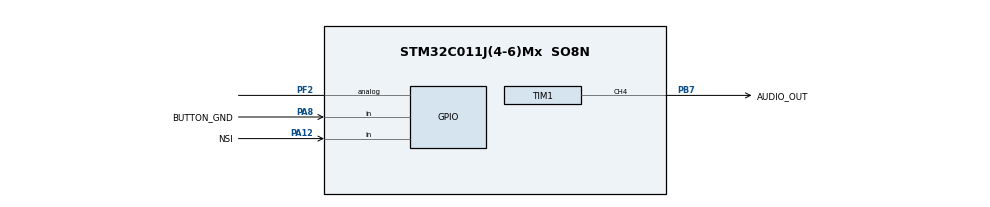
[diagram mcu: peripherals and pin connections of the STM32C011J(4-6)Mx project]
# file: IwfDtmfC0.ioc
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Mcu.Family=STM32C0
Mcu.Name=STM32C011J(4-6)Mx
Mcu.Package=SO8N
NVIC.TIM3_IRQn=true\:2\:0\:true\:false\:true\:true\:false\:true
PA12\ [PA10].GPIO_Label=NSI
PA12\ [PA10].GPIO_PuPd=GPIO_PULLUP
PA12\ [PA10].Signal=GPIO_Input
PA13.Mode=Serial_Wire
PA13.Signal=DEBUG_SWDIO
PA14-BOOT0.Mode=Serial_Wire
PA14-BOOT0.Signal=DEBUG_SWCLK
PA8.GPIO_Label=BUTTON_GND
PA8.GPIO_PuPd=GPIO_PULLUP
PA8.Signal=GPIO_Input
PA8__PA11\ [PA9].StandardMode=true
PB7.GPIO_Label=AUDIO_OUT
PB7.Signal=S_TIM1_CH4
PC14-OSCX_IN\ (PC14)__PB7.StandardMode=true
PC15-OSCX_OUT\ (PC15)__PA14-BOOT0__PB6.StandardMode=true
PF2-NRST.Signal=GPIO_Analog
PF2-NRST__PA0__PA1__PA2.StandardMode=true
ProjectManager.HeapSize=0x200
ProjectManager.StackSize=0x400
ProjectManager.TargetToolchain=STM32CubeIDE
RCC.ADCFreq_Value=48000000
RCC.AHBFreq_Value=48000000
RCC.CortexFreq_Value=48000000
RCC.EXTERNAL_CLOCK_VALUE=12288000
RCC.HCLKFreq_Value=48000000
RCC.HSE_VALUE=8000000
RCC.HSISYSCLKDivider=RCC_HSI_DIV1
RCC.HSI_VALUE=48000000
RCC.LSE_VALUE=32768
RCC.SYSCLKFreq_VALUE=48000000
RCC.VDD_VALUE=3
SH.S_TIM1_CH4.0=TIM1_CH4,PWM Generation4 CH4
TIM1.Channel-PWM\ Generation4\ CH4=TIM_CHANNEL_4
TIM1.Period=255
TIM3.Period=74
TIM3.Prescaler=15
VP_TIM1_VS_ClockSourceINT.Mode=Internal
VP_TIM3_VS_ClockSourceINT.Mode=Internal
board=custom

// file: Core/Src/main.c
/* USER CODE BEGIN Header */
/**
  ******************************************************************************
  * @file           : main.c
  * @brief          : Main program body
  ******************************************************************************
  * @attention
  *
  * Copyright (c) 2025 STMicroelectronics.
  * All rights reserved.
  *
  * This software is licensed under terms that can be found in the LICENSE file
  * in the root directory of this software component.
  * If no LICENSE file comes with this software, it is provided AS-IS.
  *
  ******************************************************************************
  */
/* USER CODE END Header */
#include "main.h"
#include "tim.h"
#include "gpio.h"

/* USER CODE BEGIN Includes */
#include "button.h"

/* USER CODE END Includes */

/* USER CODE BEGIN PV */
static button_t nsi_s = { .GPIOx = NSI_GPIO_Port, .GPIO_Pin = NSI_Pin, .debounceTimeMs = 5u };
static button_t gnd_s = { .GPIOx = BUTTON_GND_GPIO_Port, .GPIO_Pin = BUTTON_GND_Pin, .debounceTimeMs = 5u };
static button_t * const nsi = &nsi_s;
static button_t * const gnd = &gnd_s;

static volatile uint8_t pulseCount = DIAL_IDLE, earthPressed = 0;
static volatile uint32_t ph1 = 0, ph2 = 0, dph1 = 0, dph2 = 0, samplesLeft = 0, nowMs = 0;

static const uint8_t sine[256] = {
  0,  0,  0,  0,  0,  1,  1,  1,  1,  2,  2,  3,  3,  4,  4,  5,
  6,  6,  7,  8,  9,  9, 10, 11, 12, 13, 14, 15, 17, 18, 19, 20,
 21, 23, 24, 25, 27, 28, 30, 31, 32, 34, 35, 37, 39, 40, 42, 43,
 45, 47, 48, 50, 52, 54, 55, 57, 59, 61, 62, 64, 66, 68, 69, 71,
 73, 75, 77, 78, 80, 82, 84, 85, 87, 89, 91, 92, 94, 96, 98, 99,
101,103,104,106,107,109,111,112,114,115,116,118,119,121,122,123,
125,126,127,128,129,131,132,133,134,135,136,137,137,138,139,140,
140,141,142,142,143,143,144,144,145,145,145,145,146,146,146,146,
146,146,146,146,146,145,145,145,145,144,144,143,143,142,142,141,
140,140,139,138,137,137,136,135,134,133,132,131,129,128,127,126,
125,123,122,121,119,118,116,115,114,112,111,109,107,106,104,103,
101, 99, 98, 96, 94, 92, 91, 89, 87, 85, 84, 82, 80, 78, 77, 75,
 73, 71, 69, 68, 66, 64, 62, 61, 59, 57, 55, 54, 52, 50, 48, 47,
 45, 43, 42, 40, 39, 37, 35, 34, 32, 31, 30, 28, 27, 25, 24, 23,
 21, 20, 19, 18, 17, 15, 14, 13, 12, 11, 10,  9,  9,  8,  7,  6,
  6,  5,  4,  4,  3,  3,  2,  2,  1,  1,  1,  1,  0,  0,  0,  0,
};

static const uint32_t rowIncrements[4] = {
    INCREMENT(697),
    INCREMENT(770),
    INCREMENT(862),
    INCREMENT(941),
};
static const uint32_t columnIncrements[4] = {
    INCREMENT(1209),
    INCREMENT(1336),
    INCREMENT(1477),
    INCREMENT(1633),
};

static const uint8_t digits[10] = { DIGIT_1, DIGIT_2, DIGIT_3, DIGIT_4, DIGIT_5, DIGIT_6, DIGIT_7, DIGIT_8, DIGIT_9, DIGIT_0 };
/* USER CODE END PV */

void SystemClock_Config(void);
/* USER CODE BEGIN PFP */
void PlaySines(uint8_t digit, uint32_t time);
/* USER CODE END PFP */

int main(void)
{

  /* MCU Configuration--------------------------------------------------------*/

  /* Reset of all peripherals, Initializes the Flash interface and the Systick. */
  LL_APB2_GRP1_EnableClock(LL_APB2_GRP1_PERIPH_SYSCFG);
  LL_APB1_GRP1_EnableClock(LL_APB1_GRP1_PERIPH_PWR);

  /* SysTick_IRQn interrupt configuration */
  NVIC_SetPriority(SysTick_IRQn, 3);

  /* Configure the system clock */
  SystemClock_Config();

  /* USER CODE BEGIN SysInit */
  LL_SYSTICK_EnableIT();
  /* USER CODE END SysInit */

  /* Initialize all configured peripherals */
  MX_GPIO_Init();
  MX_TIM1_Init();
  MX_TIM3_Init();
  /* USER CODE BEGIN 2 */
  LL_TIM_ClearFlag_UPDATE(TIM3);
  LL_TIM_EnableIT_UPDATE(TIM3);

  LL_TIM_CC_EnableChannel(TIM1, LL_TIM_CHANNEL_CH4);
  LL_TIM_EnableAllOutputs(TIM1);

  // Make sure ARR/CCR preloads take effect immediately
  LL_TIM_GenerateEvent_UPDATE(TIM1);

  /* USER CODE END 2 */

  /* Infinite loop */
  /* USER CODE BEGIN WHILE */
  while (1)
  {
      ReadButtonState(nsi, nowMs);
      ReadButtonState(gnd, nowMs);

      switch (nsi->state)
      {
          case BTN_RISING: // rising is when nsi contact is being opened
              if (DIAL_IDLE == pulseCount)
              {
                  pulseCount = 0;
              }
              break;
          case BTN_FALLING: // falling is when nsi contact is being closed
              pulseCount++;
              // should not happen... but guard anyways
              if (10 < pulseCount)
              {
                  pulseCount = 10;
              }
              break;
          case BTN_DOWN: // down means nsi is closed
              if (DIAL_IDLE != pulseCount && (nowMs - nsi->lastEdgeTime) > INTER_DIGIT_PAUSE)
              {
                  PlaySines(digits[(pulseCount-1) % 10], TONE_TIME);
                  pulseCount = DIAL_IDLE;
              }
              break;
          default:
              // nothing to do
              break;
      }

      switch (gnd->state)
      {
          case BTN_DOWN:
              // long press -> dial *
              if (EARTH_PAUSE < (nowMs - gnd->lastEdgeTime) && 0 == earthPressed)
              {
                  earthPressed = 1;
                  PlaySines(DIGIT_HASH, TONE_TIME);
              }
              break;
          case BTN_RISING:
              // short press -> dial #
              if (EARTH_PAUSE > (nowMs - gnd->lastEdgeTime) && 0 == earthPressed)
              {
                    PlaySines(DIGIT_STAR, TONE_TIME);
              }
              earthPressed = 0;
          default:
              // nothing to do
              break;
      }
    /* USER CODE END WHILE */

  }
}

void SystemClock_Config(void)
{

  LL_FLASH_SetLatency(LL_FLASH_LATENCY_1);

  /* HSI configuration and activation */
  LL_RCC_HSI_Enable();
  while(LL_RCC_HSI_IsReady() != 1)
  {
  }

  LL_RCC_HSI_SetCalibTrimming(64);
  LL_RCC_SetHSIDiv(LL_RCC_HSI_DIV_1);
  /* Set AHB prescaler*/
  LL_RCC_SetAHBPrescaler(LL_RCC_HCLK_DIV_1);

  /* Sysclk activation on the HSI */
  LL_RCC_SetSysClkSource(LL_RCC_SYS_CLKSOURCE_HSI);
  while(LL_RCC_GetSysClkSource() != LL_RCC_SYS_CLKSOURCE_STATUS_HSI)
  {
  }

  /* Set APB1 prescaler*/
  LL_RCC_SetAPB1Prescaler(LL_RCC_APB1_DIV_1);
  LL_Init1msTick(48000000);
  /* Update CMSIS variable (which can be updated also through SystemCoreClockUpdate function) */
  LL_SetSystemCoreClock(48000000);
}

/* USER CODE BEGIN 4 */
void OnSystick(void)
{
    nowMs++;
}

void OnTim3(void)
{
    if (samplesLeft == 0u)
    {
        LL_TIM_OC_SetCompareCH4(TIM1, 0u);
        LL_TIM_DisableCounter(TIM3);
        LL_TIM_DisableCounter(TIM1);
    }
    else
    {
        samplesLeft--;

        // accumulate phases
        ph1 += dph1;
        ph2 += dph2;

        uint8_t a1 = sine[ph1 >> 24];
        uint8_t a2 = sine[ph2 >> 24];
        uint8_t s = a1 + (a2 - ((a2 + 2) >> 2)); // +2 ensures we never exceed 255

        LL_TIM_OC_SetCompareCH4(TIM1, s);
    }
}

void PlaySines(uint8_t digit, uint32_t duration)
{
    if (0 == samplesLeft)
    {
        samplesLeft = SAMPLE_FREQ * duration / 1000;

        ph1 = ph2 = 0;
        dph1 = rowIncrements[digit >> 4];
        dph2 = columnIncrements[digit & 0x0f];

        LL_TIM_OC_SetCompareCH4(TIM1, 0u);

        LL_TIM_EnableCounter(TIM3);
        LL_TIM_EnableCounter(TIM1);
    }
}
/* USER CODE END 4 */

void Error_Handler(void)
{
  __disable_irq();
  while (1)
  {
  }
}
